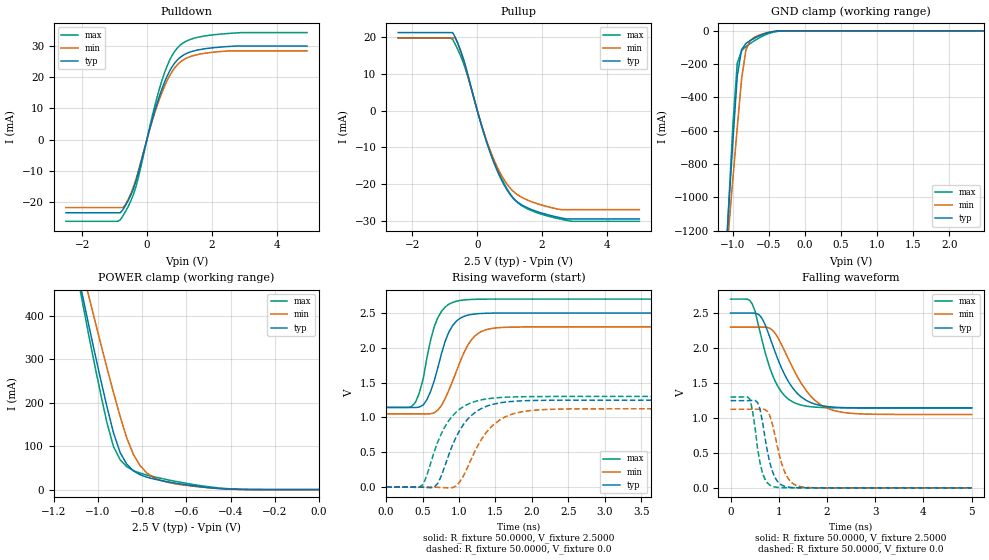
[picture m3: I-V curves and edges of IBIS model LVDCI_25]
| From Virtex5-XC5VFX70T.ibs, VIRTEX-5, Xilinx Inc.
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|   Model LVDCI_25
[Model]  LVDCI_25
Model_type I/O
Polarity   Non-Inverting
Enable   Active-Low
Vinl = 0.65
Vinh = 1.85
Vmeas =  1.2500V
Cref =   0.0F
Rref =   1.0000M
Vref =   0.0V
C_comp   6.0000pF   6.0000pF   6.0000pF
[Model Spec]
Vinl   0.65   0.6   0.7
Vinh   1.85   1.7   2.0
[Temperature Range]   25.0000   85.0000   0.0
[Voltage Range]   2.5000V   2.3000V   2.7000V
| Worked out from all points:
|   slope of the pulldown table from 0 to 0.375 V, typ, clamps not added: 27.5 ohm
|   slope of the pullup table from 0 to 0.375 V, typ, clamps not added: 34.2 ohm
|   GND clamp passes 1 mA (typ) near -0.35 V on its own axis
|   POWER clamp passes 1 mA (typ) near -0.40 V on its own axis
|   rising waveform, R_fixture 50.0000, V_fixture 2.5000: 20-80 % time 238ps typ, 306ps min, 210ps max; typ from 1.14 V to 2.5 V
|   rising waveform, R_fixture 50.0000, V_fixture 0.0: 20-80 % time 353ps typ, 388ps min, 343ps max; typ from 0 V to 1.25 V
|   falling waveform, R_fixture 50.0000, V_fixture 2.5000: 20-80 % time 530ps typ, 624ps min, 422ps max; typ from 2.5 V to 1.14 V
|   falling waveform, R_fixture 50.0000, V_fixture 0.0: 20-80 % time 215ps typ, 255ps min, 177ps max; typ from 1.25 V to 0 V
[Pulldown]
|Voltage   I(typ)   I(min)   I(max)
-2.5V     -23.46mA   -21.8mA    -26.2mA
-900mV    -23.46mA   -21.8mA    -26.2mA
-740mV    -22.45mA   -21.8mA    -24.46mA
-580mV    -19.61mA   -19.26mA   -21.52mA
-340mV    -13.43mA   -12.8mA    -15.21mA
220mV     8.448mA    7.841mA    9.872mA
460mV     16.13mA    14.98mA    18.79mA
700mV     21.91mA    20.43mA    25.37mA
1.02V     26.27mA    24.74mA    30.16mA
1.42V     28.3mA     26.84mA    32.35mA
2.14V     29.49mA    28.07mA    33.64mA
4.94V     29.95mA    28.39mA    34.26mA
[Pullup]
|Voltage   I(typ)   I(min)   I(max)
-2.44V    21.24mA    19.79mA    19.79mA
-760mV    21.24mA    19.79mA    19.35mA
-680mV    19.94mA    19.79mA    18.06mA
-520mV    16.43mA    16.36mA    14.98mA
-360mV    12.05mA    11.82mA    11.17mA
120mV     -3.826mA   -3.634mA   -3.657mA
520mV     -14.4mA    -13.55mA   -13.94mA
920mV     -21.65mA   -20.08mA   -21.33mA
1.24V     -24.9mA    -22.9mA    -25.02mA
2.04V     -28.04mA   -25.87mA   -28.39mA
2.92V     -29.52mA   -26.97mA   -30.15mA
5V        -29.52mA   -26.97mA   -30.15mA
[GND_clamp]
|Voltage   I(typ)   I(min)   I(max)
-2.5V     -11.29A    -8.704A    -13.53A
-1.12V    -1.497A    -1.51A     -1.57A
-1.06V    -1.075A    -1.198A    -1.059A
-1V       -662mA     -888.5mA   -563.2mA
-940mV    -273.6mA   -582.9mA   -195.1mA
-880mV    -113.7mA   -290.3mA   -119.7mA
-820mV    -76.4mA    -115.2mA   -95.07mA
-760mV    -58.66mA   -58.46mA   -76.31mA
-700mV    -44.35mA   -38.35mA   -59.24mA
-520mV    -12.14mA   -10.32mA   -18.61mA
-340mV    -602.1uA   -638.4uA   -1.401mA
2.48V     19.95nA    6.298uA    40.3nA
[POWER_clamp]
|Voltage   I(typ)   I(min)   I(max)
-2.49V    3.897A     3.398A     4.279A
-1.08V    470.7mA    523.2mA    456.9mA
-1.05V    398.2mA    462.2mA    377.2mA
-1.02V    327.1mA    401.4mA    299.7mA
-960mV    191.8mA    281.1mA    154.7mA
-930mV    130.6mA    223.5mA    98.93mA
-900mV    85.26mA    168.6mA    68.69mA
-840mV    43.25mA    81.1mA     43.8mA
-780mV    28.81mA    38.65mA    33.69mA
-690mV    18.53mA    17.37mA    23.2mA
-540mV    6.864mA    6.149mA    9.448mA
0V        21.48nA    108.1nA    47.01nA
[Ramp]
| variable   typ   min   max
dV/dt_r  0.7488/0.3507n   0.6744/0.3827n   0.7806/0.3399n
dV/dt_f  0.8142/0.5291n   0.7500/0.6238n   0.9336/0.4209n
R_load = 50.0000
[Rising Waveform]
R_fixture= 50.0000
V_fixture= 2.5000
V_fixture_min= 2.3000
V_fixture_max= 2.7000
|time   V(typ)   V(min)   V(max)
0s        1.142V     1.05V      1.144V
350ps     1.142V     1.05V      1.158V
510ps     1.179V     1.05V      1.562V
610ps     1.373V     1.052V     2.11V
710ps     1.718V     1.105V     2.434V
810ps     2.093V     1.271V     2.586V
960ps     2.379V     1.651V     2.668V
1.16ns    2.478V     2.102V     2.694V
1.46ns    2.498V     2.279V     2.699V
5ns       2.499V     2.3V       2.699V
[Rising Waveform]
R_fixture= 50.0000
V_fixture= 0.0
|time   V(typ)   V(min)   V(max)
0s        0V         839.3nV    0V
510ps     -3.48mV    41.62uV    40.53mV
660ps     -1.377mV   -2.347mV   508.8mV
810ps     313.4mV    -10.14mV   872.5mV
960ps     717.7mV    14.72mV    1.075V
1.11ns    965mV      266.6mV    1.184V
1.26ns    1.1V       599mV      1.241V
1.57ns    1.211V     972.2mV    1.286V
1.92ns    1.241V     1.09V      1.298V
5ns       1.248V     1.124V     1.301V
[Falling Waveform]
R_fixture= 50.0000
V_fixture= 2.5000
V_fixture_min= 2.3000
V_fixture_max= 2.7000
|time   V(typ)   V(min)   V(max)
0s        2.5V       2.3V       2.7V
400ps     2.5V       2.3V       2.681V
510ps     2.499V     2.3V       2.524V
610ps     2.463V     2.3V       2.234V
910ps     1.97V      2.225V     1.548V
1.11ns    1.636V     1.974V     1.327V
1.31ns    1.41V      1.689V     1.222V
1.72ns    1.205V     1.272V     1.157V
2.17ns    1.154V     1.102V     1.146V
5ns       1.143V     1.05V      1.144V
[Falling Waveform]
R_fixture= 50.0000
V_fixture= 0.0
|time   V(typ)   V(min)   V(max)
0s        1.248V     1.124V     1.301V
400ps     1.248V     1.124V     1.267V
450ps     1.25V      1.124V     1.128V
560ps     1.223V     1.124V     563.9mV
660ps     950.8mV    1.126V     218.5mV
760ps     536.4mV    1.097V     73.63mV
860ps     251.8mV    931.8mV    23.6mV
1.11ns    25.3mV     248.7mV    1.716mV
1.41ns    1.957mV    23.91mV    116uV
5ns       9.561uV    96.42uV    16.81uV
